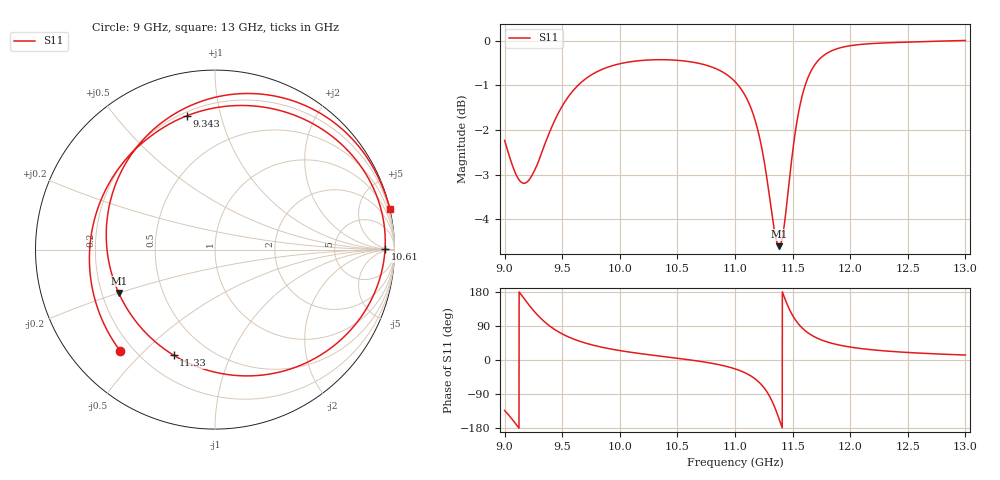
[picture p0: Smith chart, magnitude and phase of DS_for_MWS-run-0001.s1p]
! TOUCHSTONE file generated by CST DESIGN STUDIO
! Date and time: Tue Feb  4 17:51:44 2025
! Project name: C:\Work\MatlabApps\UnitCellOptimizationMatlab\CST\unitcell.cst
! Tree item: Tasks\Sweep1\SPara1\S-Parameters
! Header version: 2024
! Port assignment regex: !\s*Touchstone port\s*([0-9]+)\s*=\s*(CST MWS port|CST DES external port|CST DES block port)\s*(.+)\s* \(\"(.*)\"\)(\s*mode\s*([0-9]+))?.*
! Touchstone port assignment:
! Touchstone port 1 = CST DES external port 1 ("")
# GHz S MA R 50
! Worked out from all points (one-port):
!   4001 points, 9 GHz to 13 GHz, reference 50 ohm
!   lowest |S11| = -4.6 dB at 11.38 GHz (marker M1), VSWR 3.86, Z = 13.5 - j9.97 ohm
!   |S11| at or under -10 dB: nowhere
!   S11 on the Smith chart (normalised r, x): 9 GHz: 0.15, -0.42; 9.343 GHz: 0.22, +0.79; 10.61 GHz: 37, +3; 11.33 GHz: 0.32, -0.63; 13 GHz: -0.04, +8.75
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9  0.7732 -133.1
9.085  0.715 -163.9
9.155  0.6927 167.7
9.251  0.7118 130.4
9.343  0.762 101.8
9.5  0.8448 68.9
9.712  0.9084 43.8
10  0.9426 24.9
10.5  0.9509 4.6
10.609  0.9475 0.3
10.84  0.93 -11.1
11  0.9 -23.4
11.102  0.8615 -36.0
11.183  0.8076 -51.8
11.267  0.7147 -79.3
11.326  0.6319 -111.4
11.383  0.5883 -155.8
11.41  0.6009 -179.2
11.437  0.6353 158.7
11.5  0.7503 117.6
11.537  0.8109 100.5
11.578  0.8624 86.0
11.637  0.9116 70.9
11.7  0.9429 59.6
11.826  0.9729 45.3
12  0.9875 34.2
12.5  0.9967 19.9
13  1.001 13.0
